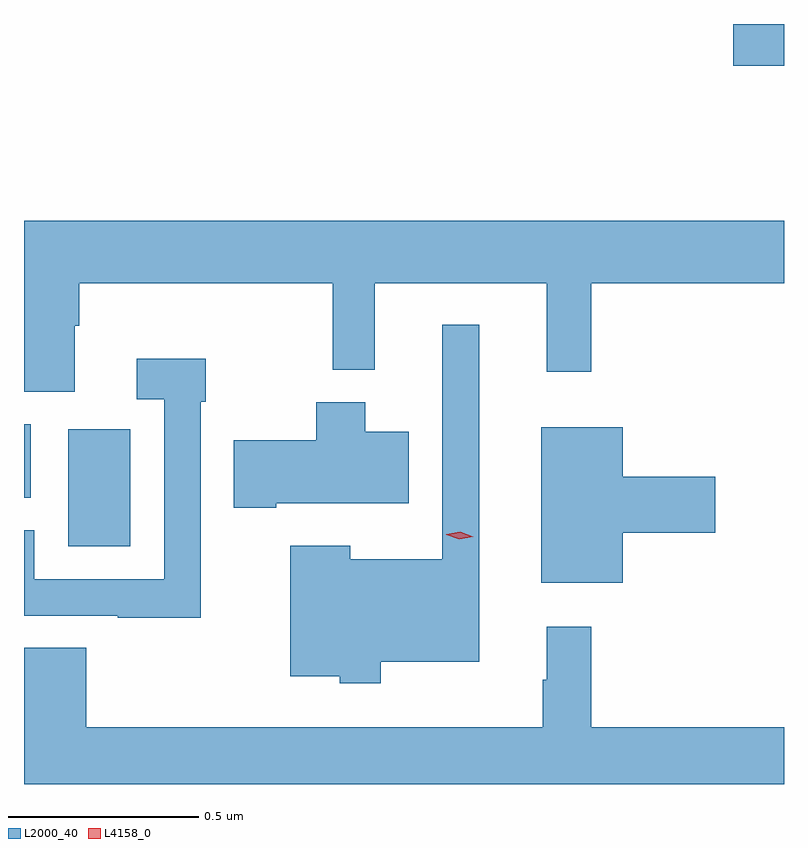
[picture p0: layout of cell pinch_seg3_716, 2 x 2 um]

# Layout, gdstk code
import gdstk
lib = gdstk.Library(unit=1e-6, precision=1e-09)
def R(c, l, rs):  # rectangles x0, y0, x1, y1
    for r in rs: c.add(gdstk.rectangle(r[:2], r[2:], *l))
def P(c, l, *ps):  # polygons
    for p in ps: c.add(gdstk.Polygon(p, *l))
L2000_40 = (2000, 40)
L4158_0 = (4158, 0)

pinch_seg3_716 = lib.new_cell('pinch_seg3_716')
R(pinch_seg3_716, L2000_40, [(1108.64,677.58,1108.804,677.887), (1108.524,677.707,1108.542,677.901), (1110.39,678.844,1110.524,678.954)])
P(pinch_seg3_716, L2000_40, [(1108.657,678.16),(1108.67,678.16),(1108.67,678.272),(1109.337,678.272),(1109.337,678.044),(1109.447,678.044),(1109.447,678.272),(1109.9,678.272),(1109.9,678.039),(1110.017,678.039),(1110.017,678.272),(1110.524,678.272),(1110.524,678.436),(1108.524,678.436),(1108.524,677.986),(1108.657,677.986)],
  [(1109.463,677.276),(1109.722,677.276),(1109.722,678.163),(1109.625,678.163),(1109.625,677.545),(1109.383,677.545),(1109.383,677.581),(1109.225,677.581),(1109.225,677.237),(1109.355,677.237),(1109.355,677.219),(1109.463,677.219)],
  [(1108.989,677.96),(1109.002,677.96),(1109.002,678.073),(1108.821,678.073),(1108.821,677.967),(1108.893,677.967),(1108.893,677.493),(1108.551,677.493),(1108.551,677.622),(1108.524,677.622),(1108.524,677.397),(1108.771,677.397),(1108.771,677.392),(1108.989,677.392)],
  [(1109.188,677.693),(1109.536,677.693),(1109.536,677.881),(1109.422,677.881),(1109.422,677.959),(1109.293,677.959),(1109.293,677.859),(1109.076,677.859),(1109.076,677.681),(1109.188,677.681)],
  [(1110.1,677.615),(1110.343,677.615),(1110.343,677.762),(1110.1,677.762),(1110.1,677.893),(1109.885,677.893),(1109.885,677.483),(1110.1,677.483)],
  [(1110.524,677.104),(1110.017,677.104),(1110.017,677.368),(1109.9,677.368),(1109.9,677.228),(1109.889,677.228),(1109.889,677.104),(1108.688,677.104),(1108.688,677.312),(1108.524,677.312),(1108.524,676.954),(1110.524,676.954)])
P(pinch_seg3_716, L4158_0, [(1109.67,677.598),(1109.635,677.61),(1109.635,677.61),(1109.635,677.611),(1109.672,677.618),(1109.706,677.605),(1109.706,677.605),(1109.706,677.605)])

lib.write_gds('pinch_seg3_716.gds')
